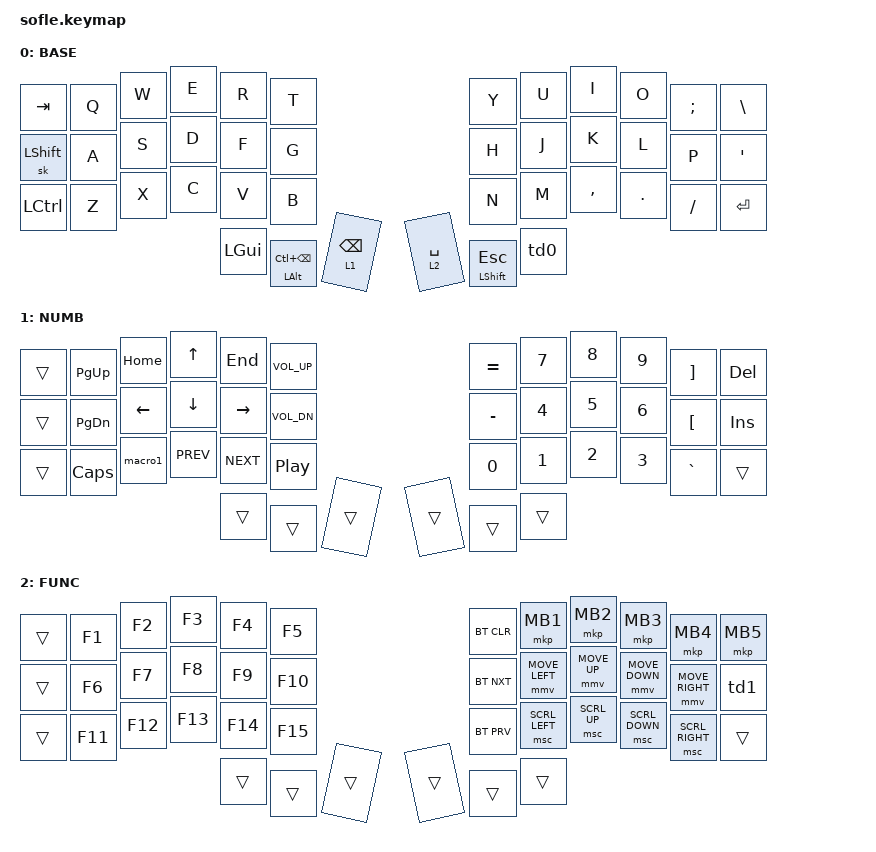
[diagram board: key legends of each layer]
#include <behaviors.dtsi>
#include <dt-bindings/zmk/keys.h>
#include <dt-bindings/zmk/bt.h>
#include <dt-bindings/zmk/outputs.h>
#include <dt-bindings/zmk/backlight.h>
#include <dt-bindings/zmk/pointing.h>

#define ZMK_POINTING_DEFAULT_SCRL_VAL 30    // default: 10
#define ZMK_POINTING_DEFAULT_MOVE_VAL 1500  // default: 600
#define BASE 0
#define NUMB 1
#define FUNC 2
#define ADD1 3
#define ADD2 4
#define ADD3 5
#define ADD4 6
#define ADD5 7
#define ADD6 8
#define ADD7 9
#define ADD8 10
#define ADD9 11

&lt {
    tapping-term-ms = <250>; // Only turn on layer if the key is held for 0.25 seconds or longer.
};
&mt {
    tapping-term-ms = <250>; // Only turn modifier if the key is held for 0.25 seconds or longer.
};

/ {
    behaviors {
        td0: layer_toggle {
            compatible = "zmk,behavior-tap-dance";
            #binding-cells = <0>;
            tapping-term-ms = <500>;
            bindings = <&to 0>, <&to 1>, <&to 2>;
        };
        td1: left_click_toggle {
            compatible = "zmk,behavior-tap-dance";
            #binding-cells = <0>;
            tapping-term-ms = <500>;
            bindings = <&l_lock>, <&l_unlock>;
        };
    };
// For future desired tapdance behaviors, you can add up to three mod-tap and/or layer-tap 
// behaviors so a single key can have up to six functions (three taps and three holds).

    macros {
        macro1: toggle_hdr {
            compatible = "zmk,behavior-macro";
            #binding-cells = <0>;
            bindings
                = <&macro_press &kp LGUI>
                , <&macro_wait_time 50>
                , <&macro_press &kp LALT>
                , <&macro_wait_time 50>
                , <&macro_tap &kp B>
                , <&macro_release &kp LGUI>
                , <&macro_release &kp LALT>
                ;
        };
        l_lock: mouse_button_1_click {
            compatible = "zmk,behavior-macro";
            #binding-cells = <0>;
            wait-ms = <0>;
            tap-ms = <0>;
            bindings 
                = <&macro_press &mkp MB1>
                ;
        };
        l_unlock: mouse_button_1_release {
            compatible = "zmk,behavior-macro";
            #binding-cells = <0>;
            wait-ms = <0>;
            tap-ms = <0>;
            bindings 
                = <&macro_release &mkp MB1>
                ;
        };
    };

    keymap {
        compatible = "zmk,keymap";

        base_layer {
            label = "BASE";
            bindings = <
// ╭───────────────┬───────────────┬───────────────┬───────────────┬───────────────┬───────────────╮                                 ╭───────────────┬───────────────┬───────────────┬───────────────┬───────────────┬───────────────╮
       &kp TAB        &kp Q            &kp W           &kp E           &kp R           &kp T     /*|                                 |*/  &kp Y          &kp U           &kp I           &kp O           &kp SEMI       &kp BSLH
       &sk LSHIFT     &kp A            &kp S           &kp D           &kp F           &kp G     /*|                                 |*/  &kp H          &kp J           &kp K           &kp L           &kp P          &kp SQT
       &kp LCTRL      &kp Z            &kp X           &kp C           &kp V           &kp B     /*├─────────────╮     ╭─────────────┤*/  &kp N          &kp M           &kp COMMA       &kp DOT         &kp FSLH       &kp ENTER
/* ╰───────────────┴───────────────┴───────────────┴───────────────┤*/ &kp LGUI     &mt LALT LC(BSPC)  &lt 1 BSPC        &lt 2 SPACE   &mt LSHIFT ESC    &td0      //├───────────────┴───────────────┴───────────────┴───────────────╯
//                                                                 ╰───────────────┴───────────────┴─────────────╯     ╰─────────────┴───────────────┴───────────────╯
            >;
        };

        numbers_layer {
            label = "NUMB";
            bindings = <
// ╭───────────────┬───────────────┬───────────────┬───────────────┬───────────────┬───────────────╮                                 ╭───────────────┬───────────────┬───────────────┬───────────────┬───────────────┬───────────────╮
       &trans          &kp PG_UP       &kp HOME        &kp UP          &kp END      &kp C_VOL_UP /*|                                 |*/  &kp EQUAL        &kp N7          &kp N8          &kp N9          &kp RBKT        &kp DEL
       &trans          &kp PG_DN       &kp LEFT        &kp DOWN        &kp RIGHT    &kp C_VOL_DN /*|                                 |*/  &kp MINUS        &kp N4          &kp N5          &kp N6          &kp LBKT        &kp INS
       &trans          &kp CAPS        &macro1         &kp C_PREV      &kp C_NEXT      &kp C_PP  /*├─────────────╮     ╭─────────────┤*/   &kp N0          &kp N1          &kp N2          &kp N3          &kp GRAVE       &trans
/* ╰───────────────┴───────────────┴───────────────┴───────────────┤*/ &trans            &trans         &trans              &trans         &trans          &trans  //├───────────────┴───────────────┴───────────────┴───────────────╯
//                                                                 ╰───────────────┴───────────────┴─────────────╯     ╰─────────────┴───────────────┴───────────────╯
            >;
        };

        function_layer {
            label = "FUNC";
            bindings = <
// ╭───────────────┬───────────────┬───────────────┬───────────────┬───────────────┬───────────────╮                                 ╭───────────────┬───────────────┬───────────────┬───────────────┬───────────────┬───────────────╮
       &trans          &kp F1          &kp F2          &kp F3          &kp F4          &kp F5    /*|                                 |*/   &bt BT_CLR   &mkp MB1        &mkp MB2       &mkp MB3        &mkp MB4           &mkp MB5         
       &trans          &kp F6          &kp F7          &kp F8          &kp F9          &kp F10   /*|                                 |*/   &bt BT_NXT   &mmv MOVE_LEFT	&mmv MOVE_UP   &mmv MOVE_DOWN  &mmv MOVE_RIGHT    &td1
       &trans          &kp F11         &kp F12         &kp F13         &kp F14         &kp F15   /*├─────────────╮     ╭─────────────┤*/   &bt BT_PRV   &msc SCRL_LEFT  &msc SCRL_UP   &msc SCRL_DOWN  &msc SCRL_RIGHT    &trans 
/* ╰───────────────┴───────────────┴───────────────┴───────────────┤*/ &trans            &trans         &trans              &trans         &trans         &trans   //├───────────────┴───────────────┴───────────────┴───────────────╯
//                                                                 ╰───────────────┴───────────────┴─────────────╯     ╰─────────────┴───────────────┴───────────────╯
            >;
      };

      additional1 {
            status = "reserved";
        };
      additional2 {
            status = "reserved";
        };
      additional3 {
            status = "reserved";
        };
      additional4 {
            status = "reserved";
        };
      additional5 {
            status = "reserved";
        };
      additional6 {
            status = "reserved";
        };
      additional7 {
            status = "reserved";
        };
      additional8 {
            status = "reserved";
        };
      additional9 {
            status = "reserved";
        };
    };
};
